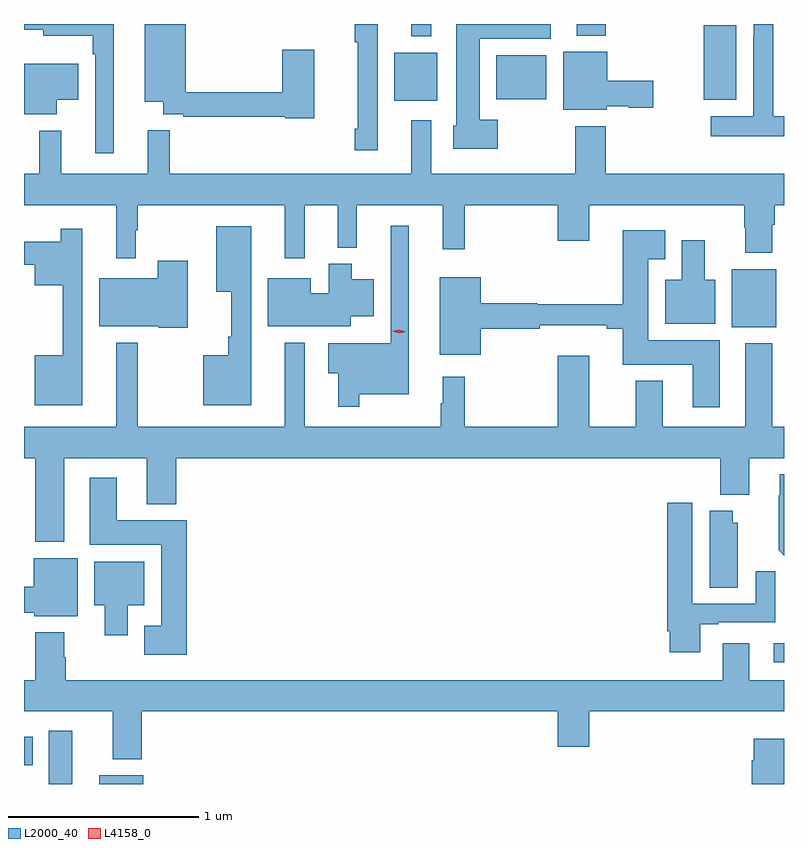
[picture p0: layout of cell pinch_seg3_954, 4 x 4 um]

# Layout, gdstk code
import gdstk
lib = gdstk.Library(unit=1e-6, precision=1e-09)
def R(c, l, rs):  # rectangles x0, y0, x1, y1
    for r in rs: c.add(gdstk.rectangle(r[:2], r[2:], *l))
def P(c, l, *ps):  # polygons
    for p in ps: c.add(gdstk.Polygon(p, *l))
L2000_40 = (2000, 40)
L4158_0 = (4158, 0)

pinch_seg3_954 = lib.new_cell('pinch_seg3_954')
R(pinch_seg3_954, L2000_40, [(402.089,736.497,402.211,736.777), (402.353,736.497,402.586,736.543), (401.958,736.595,402.004,736.747), (405.903,737.138,405.958,737.239), (405.683,738.902,405.916,739.207), (403.907,740.093,404.134,740.347), (405.536,740.099,405.706,740.491), (404.444,740.102,404.707,740.332), (403.997,740.432,404.101,740.497), (404.867,740.435,405.02,740.497)])
P(pinch_seg3_954, L2000_40, [(402.43,740.497),(401.958,740.497),(401.958,740.466),(402.059,740.466),(402.059,740.435),(402.321,740.435),(402.321,740.339),(402.333,740.339),(402.333,739.818),(402.43,739.818)],
  [(403.486,740.362),(403.316,740.362),(403.316,740.138),(402.808,740.138),(402.808,740.497),(402.593,740.497),(402.593,740.087),(402.692,740.087),(402.692,740.022),(402.796,740.022),(402.796,740.01),(403.332,740.01),(403.332,740.002),(403.486,740.002)],
  [(405.958,740.011),(405.901,740.011),(405.901,740.497),(405.798,740.497),(405.798,740.438),(405.797,740.438),(405.797,740.011),(405.573,740.011),(405.573,739.907),(405.958,739.907)],
  [(403.819,740.497),(403.698,740.497),(403.698,740.402),(403.715,740.402),(403.715,739.945),(403.698,739.945),(403.698,739.833),(403.819,739.833)],
  [(404.452,739.993),(404.356,739.993),(404.356,740.42),(404.731,740.42),(404.731,740.497),(404.234,740.497),(404.234,739.962),(404.216,739.962),(404.216,739.841),(404.452,739.841)],
  [(405.024,740.063),(405.141,740.063),(405.141,740.056),(405.271,740.056),(405.271,740.198),(405.028,740.198),(405.028,740.35),(404.795,740.35),(404.795,740.045),(405.024,740.045)],
  [(402.13,740.099),(402.244,740.099),(402.244,740.287),(401.958,740.287),(401.958,740.021),(402.13,740.021)],
  [(402.547,739.412),(402.557,739.412),(402.557,739.544),(403.331,739.544),(403.331,739.263),(403.435,739.263),(403.435,739.544),(403.61,739.544),(403.61,739.319),(403.709,739.319),(403.709,739.544),(404.162,739.544),(404.162,739.311),(404.279,739.311),(404.279,739.544),(404.768,739.544),(404.768,739.356),(404.932,739.356),(404.932,739.544),(405.748,739.544),(405.748,739.424),(405.755,739.424),(405.755,739.292),(405.895,739.292),(405.895,739.441),(405.908,739.441),(405.908,739.544),(405.958,739.544),(405.958,739.708),(405.02,739.708),(405.02,739.96),(404.86,739.96),(404.86,739.708),(404.101,739.708),(404.101,739.99),(403.997,739.99),(403.997,739.708),(402.725,739.708),(402.725,739.937),(402.608,739.937),(402.608,739.708),(402.155,739.708),(402.155,739.936),(402.037,739.936),(402.037,739.708),(401.958,739.708),(401.958,739.544),(402.443,739.544),(402.443,739.263),(402.547,739.263)],
  [(403.723,738.548),(403.984,738.548),(403.984,739.435),(403.887,739.435),(403.887,738.817),(403.56,738.817),(403.56,738.659),(403.613,738.659),(403.613,738.483),(403.723,738.483)],
  [(403.153,739.432),(402.971,739.432),(402.971,739.088),(403.049,739.088),(403.049,738.85),(403.032,738.85),(403.032,738.754),(402.902,738.754),(402.902,738.491),(403.153,738.491)],
  [(402.265,739.42),(402.151,739.42),(402.151,739.351),(401.958,739.351),(401.958,739.229),(402.014,739.229),(402.014,739.121),(402.161,739.121),(402.161,738.754),(402.014,738.754),(402.014,738.491),(402.265,738.491)],
  [(405.619,738.832),(405.244,738.832),(405.244,739.259),(405.334,739.259),(405.334,739.411),(405.11,739.411),(405.11,739.021),(404.658,739.021),(404.658,739.028),(404.362,739.028),(404.362,739.165),(404.147,739.165),(404.147,738.755),(404.362,738.755),(404.362,738.892),(404.672,738.892),(404.672,738.911),(405.026,738.911),(405.026,738.892),(405.11,738.892),(405.11,738.704),(405.479,738.704),(405.479,738.48),(405.619,738.48)],
  [(405.595,739.15),(405.541,739.15),(405.541,739.36),(405.419,739.36),(405.419,739.15),(405.332,739.15),(405.332,738.92),(405.595,738.92)],
  [(402.82,739.252),(402.662,739.252),(402.662,739.159),(402.353,739.159),(402.353,738.905),(402.666,738.905),(402.666,738.899),(402.82,738.899)],
  [(403.678,738.959),(403.798,738.959),(403.798,739.153),(403.684,739.153),(403.684,739.234),(403.562,739.234),(403.562,739.081),(403.468,739.081),(403.468,739.159),(403.241,739.159),(403.241,738.905),(403.678,738.905)],
  [(402.169,738.212),(402.605,738.212),(402.605,737.969),(402.758,737.969),(402.758,738.212),(405.623,738.212),(405.623,738.02),(405.775,738.02),(405.775,738.212),(405.958,738.212),(405.958,738.376),(405.895,738.376),(405.895,738.817),(405.755,738.817),(405.755,738.376),(405.319,738.376),(405.319,738.619),(405.179,738.619),(405.179,738.376),(404.932,738.376),(404.932,738.751),(404.768,738.751),(404.768,738.376),(404.279,738.376),(404.279,738.64),(404.162,738.64),(404.162,738.5),(404.151,738.5),(404.151,738.376),(403.435,738.376),(403.435,738.82),(403.331,738.82),(403.331,738.376),(402.557,738.376),(402.557,738.82),(402.443,738.82),(402.443,738.376),(401.958,738.376),(401.958,738.212),(402.017,738.212),(402.017,737.771),(402.169,737.771)],
  [(405.958,738.127),(405.935,738.127),(405.935,738.017),(405.931,738.017),(405.931,737.726),(405.958,737.699)],
  [(402.815,737.884),(402.445,737.884),(402.445,738.109),(402.305,738.109),(402.305,737.756),(402.68,737.756),(402.68,737.329),(402.59,737.329),(402.59,737.177),(402.815,737.177)],
  [(405.517,737.337),(405.613,737.337),(405.613,737.349),(405.913,737.349),(405.913,737.617),(405.809,737.617),(405.809,737.445),(405.475,737.445),(405.475,737.977),(405.344,737.977),(405.344,737.302),(405.356,737.302),(405.356,737.19),(405.517,737.19)],
  [(405.715,737.871),(405.688,737.871),(405.688,737.935),(405.566,737.935),(405.566,737.53),(405.715,737.53)],
  [(402.241,737.686),(402.008,737.686),(402.008,737.534),(401.958,737.534),(401.958,737.399),(402.012,737.399),(402.012,737.381),(402.241,737.381)],
  [(402.505,737.438),(402.592,737.438),(402.592,737.668),(402.329,737.668),(402.329,737.438),(402.383,737.438),(402.383,737.28),(402.505,737.28)],
  [(402.578,736.88),(404.768,736.88),(404.768,736.692),(404.932,736.692),(404.932,736.88),(405.958,736.88),(405.958,737.044),(405.775,737.044),(405.775,737.239),(405.635,737.239),(405.635,737.044),(402.177,737.044),(402.177,737.165),(402.169,737.165),(402.169,737.296),(402.017,737.296),(402.017,737.044),(401.958,737.044),(401.958,736.88),(402.425,736.88),(402.425,736.628),(402.578,736.628)],
  [(405.958,736.735),(405.8,736.735),(405.8,736.622),(405.788,736.622),(405.788,736.497),(405.958,736.497)])
P(pinch_seg3_954, L4158_0, [(403.932,738.869),(403.897,738.88),(403.897,738.88),(403.897,738.88),(403.933,738.888),(403.968,738.877),(403.968,738.877),(403.968,738.877)])

lib.write_gds('pinch_seg3_954.gds')
